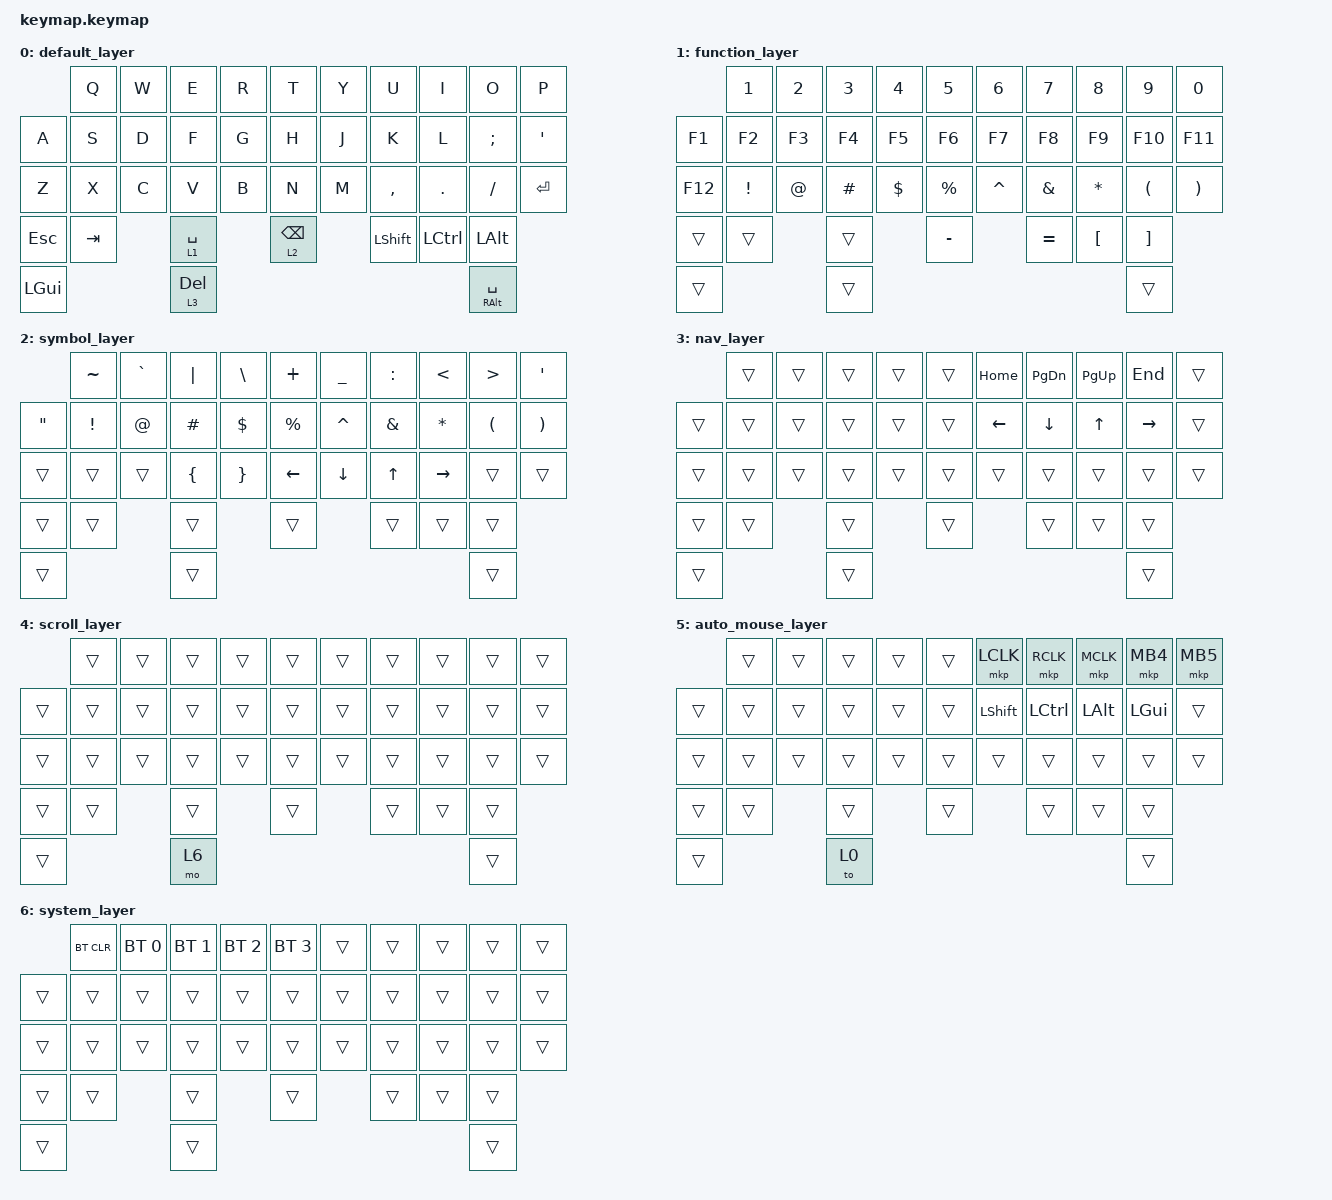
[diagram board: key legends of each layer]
#include <behaviors.dtsi>
#include <dt-bindings/zmk/keys.h>
#include <dt-bindings/zmk/mouse.h>
#include <dt-bindings/zmk/bt.h>

// PAW3222 driver with PMW3610 equivalent smart algorithm implementation
// Fixed unterminated #if error and conditional compilation issues
// Ready for build testing with updated driver

/ {
    behaviors {
        // Layer-tap behavior for efficient layer access
        ltp: layer_tap {
            compatible = "zmk,behavior-hold-tap";
            #binding-cells = <2>;
            flavor = "tap-preferred";
            tapping-term-ms = <200>;
            quick-tap-ms = <175>;
            bindings = <&mo>, <&kp>;
        };
        
        // Mod-tap behavior for modifiers
        mtp: mod_tap {
            compatible = "zmk,behavior-hold-tap";
            #binding-cells = <2>;
            flavor = "tap-preferred";
            tapping-term-ms = <200>;
            quick-tap-ms = <175>;
            bindings = <&kp>, <&kp>;
        };
    };

    combos {
        compatible = "zmk,combos";
        
        // Tab combo on Q+W (left side)
        combo_tab {
            timeout-ms = <50>;
            key-positions = <1 2>;
            bindings = <&kp TAB>;
        };
        
        // Enter combo on L+; (right side)  
        combo_enter {
            timeout-ms = <50>;
            key-positions = <18 19>;
            bindings = <&kp ENTER>;
        };
        
        // Backspace combo on O+P (right side)
        combo_bspc {
            timeout-ms = <50>;
            key-positions = <8 9>;
            bindings = <&kp BSPC>;
        };
        
        // Escape combo on W+E (left side)
        combo_esc {
            timeout-ms = <50>;
            key-positions = <2 3>;
            bindings = <&kp ESC>;
        };
    };

    keymap {
        compatible = "zmk,keymap";

        // Base layer (QWERTY 44-key layout)
        default_layer {
            bindings = <
                         &kp Q       &kp W       &kp E       &kp R       &kp T       &kp Y       &kp U       &kp I       &kp O       &kp P
                &kp A    &kp S       &kp D       &kp F       &kp G       &kp H       &kp J       &kp K       &kp L       &kp SEMI    &kp SQT
                &kp Z    &kp X       &kp C       &kp V       &kp B       &kp N       &kp M       &kp COMMA   &kp DOT     &kp SLASH   &kp ENTER
                &kp ESC  &kp TAB               &ltp 1 SPACE              &ltp 2 BSPC             &kp LSHFT   &kp LCTRL   &kp LALT
                &kp LGUI                       &ltp 3 DEL                                                                &mtp RALT SPACE
            >;
        };

        // Numbers and Function layer
        function_layer {
            bindings = <
                         &kp N1      &kp N2      &kp N3      &kp N4      &kp N5      &kp N6      &kp N7      &kp N8      &kp N9      &kp N0
                &kp F1   &kp F2      &kp F3      &kp F4      &kp F5      &kp F6      &kp F7      &kp F8      &kp F9      &kp F10     &kp F11
                &kp F12  &kp EXCL    &kp AT      &kp HASH    &kp DLLR    &kp PRCNT   &kp CARET   &kp AMPS    &kp ASTRK   &kp LPAR    &kp RPAR
                &trans   &trans                  &trans                  &kp MINUS             &kp EQUAL   &kp LBKT    &kp RBKT
                &trans                           &trans                                                                &trans
            >;
        };

        // Symbol layer  
        symbol_layer {
            bindings = <
                         &kp TILDE   &kp GRAVE   &kp PIPE    &kp BSLH    &kp PLUS    &kp UNDER   &kp COLON   &kp LT      &kp GT      &kp QUOT
                &kp DQT  &kp EXCL    &kp AT      &kp HASH    &kp DLLR    &kp PRCNT   &kp CARET   &kp AMPS    &kp ASTRK   &kp LPAR    &kp RPAR
                &trans   &trans      &trans      &kp LBRC    &kp RBRC    &kp LEFT    &kp DOWN    &kp UP      &kp RIGHT   &trans      &trans
                &trans   &trans                  &trans                  &trans                &trans      &trans      &trans
                &trans                           &trans                                                                &trans
            >;
        };

        // Navigation layer
        nav_layer {
            bindings = <
                         &trans      &trans      &trans      &trans      &trans      &kp HOME    &kp PG_DN   &kp PG_UP   &kp END     &trans
                &trans   &trans      &trans      &trans      &trans      &trans      &kp LEFT    &kp DOWN    &kp UP      &kp RIGHT   &trans
                &trans   &trans      &trans      &trans      &trans      &trans      &trans      &trans      &trans      &trans      &trans
                &trans   &trans                  &trans                  &trans                &trans      &trans      &trans
                &trans                           &trans                                                                &trans
            >;
        };

        // Scroll layer (activated by trackball)
        scroll_layer {
            bindings = <
                         &trans      &trans      &trans      &trans      &trans      &trans      &trans      &trans      &trans      &trans
                &trans   &trans      &trans      &trans      &trans      &trans      &trans      &trans      &trans      &trans      &trans
                &trans   &trans      &trans      &trans      &trans      &trans      &trans      &trans      &trans      &trans      &trans
                &trans   &trans                  &trans                  &trans                &trans      &trans      &trans
                &trans                           &mo 6                                                                &trans
            >;
        };

        // Auto mouse layer (activated by trackball movement)
        auto_mouse_layer {
            bindings = <
                         &trans      &trans      &trans      &trans      &trans      &mkp LCLK   &mkp RCLK   &mkp MCLK   &mkp MB4    &mkp MB5
                &trans   &trans      &trans      &trans      &trans      &trans      &kp LSHFT   &kp LCTRL   &kp LALT    &kp LGUI    &trans
                &trans   &trans      &trans      &trans      &trans      &trans      &trans      &trans      &trans      &trans      &trans
                &trans   &trans                  &trans                  &trans                &trans      &trans      &trans
                &trans                           &to 0                                                                &trans
            >;
        };

        // System/Bluetooth layer
        system_layer {
            bindings = <
                         &bt BT_CLR  &bt BT_SEL 0 &bt BT_SEL 1 &bt BT_SEL 2 &bt BT_SEL 3 &trans      &trans      &trans      &trans      &trans
                &trans   &trans      &trans      &trans      &trans      &trans      &trans      &trans      &trans      &trans      &trans
                &trans   &trans      &trans      &trans      &trans      &trans      &trans      &trans      &trans      &trans      &trans
                &trans   &trans                  &trans                  &trans                &trans      &trans      &trans
                &trans                           &trans                                                                &trans
            >;
        };
    };
};

// Auto mouse layer configuration - PMW3610 equivalent settings
&trackball {
    automouse-layer = <5>;       // Layer 5 for auto mouse
    scroll-layers = <4>;         // Layer 4 for scroll mode  
    movement-timeout-ms = <600>;  // 600ms timeout before returning to base layer
    movement-threshold = <0>;     // Any movement triggers auto mouse (PMW3610 style)
};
